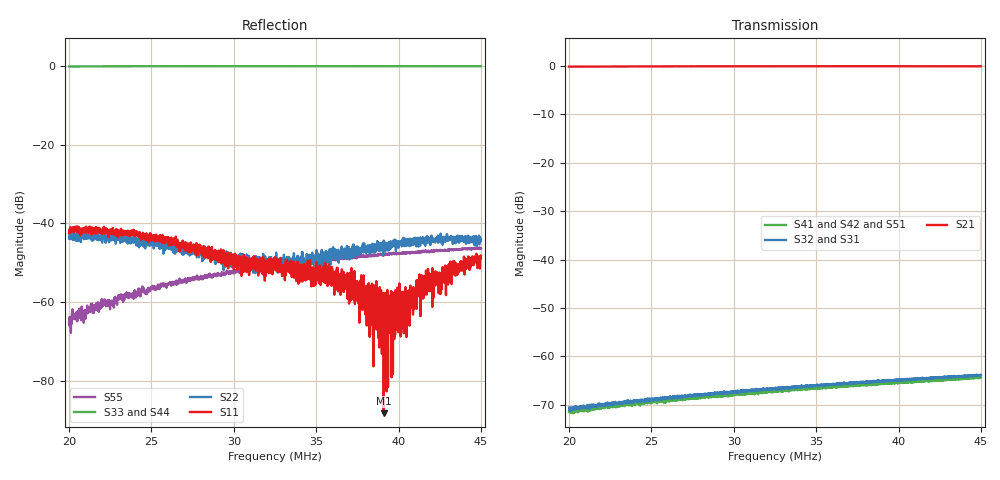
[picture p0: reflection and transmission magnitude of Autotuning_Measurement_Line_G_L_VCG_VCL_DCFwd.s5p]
#  HZ  S  RI  R  50.00
! Rohde & Schwarz ZVT8 8Ports - Version 4.11 - 1300.0000k08 SN: 100242
! Date: 2026-06-18 01:18:41
! Measurements: S11 S12 S13 S14 S15 S21 S22 S23 S24 S25 S31 S32 S33 S34 S35 S41 S42 S43 S44 S45 S51 S52 S53 S54 S55
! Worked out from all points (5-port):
!   2501 points, 20 MHz to 45 MHz, reference 50 ohm
!   strongest paths, dB at 20 MHz, 26.25 MHz, 32.5 MHz, 38.75 MHz, 45 MHz:
!     S21: -0.1, 0.0, 0.0, 0.0, 0.0
!     S32: -71.1, -68.5, -66.7, -65.0, -63.9
!     S31: -70.8, -68.6, -66.8, -65.2, -63.8
!     S41: -71.5, -69.2, -67.3, -65.8, -64.4
!     S42: -71.4, -68.9, -67.3, -65.8, -64.5
!     S51: -71.3, -69.1, -67.5, -65.8, -64.3
!   lowest |S11| = -88.3 dB at 39.1 MHz (marker M1), VSWR 1.00, Z = 50 + j0.00269 ohm
!   |S11| at or under -10 dB: start of sweep to end of sweep
